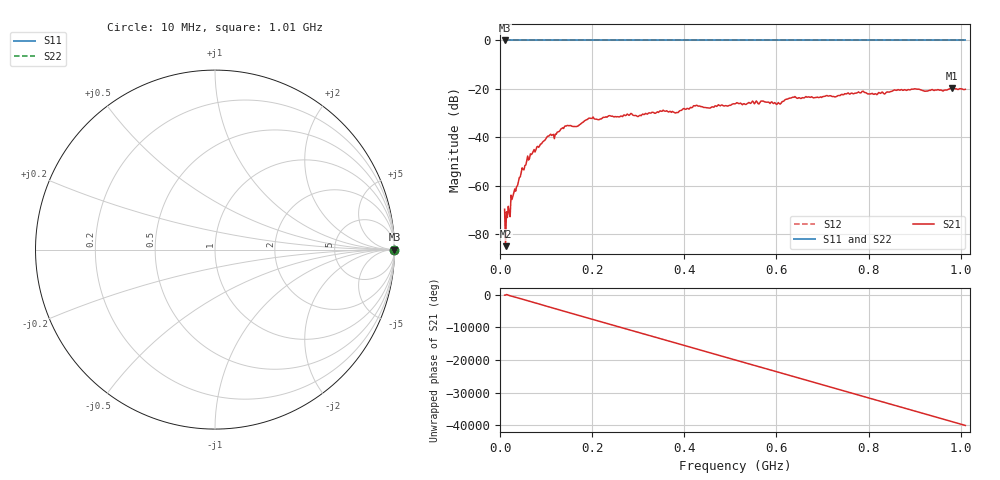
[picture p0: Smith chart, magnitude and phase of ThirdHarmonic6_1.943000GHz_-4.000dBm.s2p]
! 8/16/2025 11:24:06 PM
! C:\ANRITSUVNA\TEMP\TEMP.S2P
! CHANNEL.1
! TR.MEASUREMENT
! RAW.DATA
! RF.CORRECTION.OFF
! AVERAGING.OFF
! IF.BANDWIDTH: 5KHZ
! SWEEPTYPE:  FREQ.SWEEP(Linear)
! Reference Plane Port Info
! PORT:  PORT1  PORT2
! DISTANCE:  0  m  0  m
! TIME:  0  s  0  s
! PHASE.OFFSET:  0  deg.  0  deg.
! LOSS:  0  dB  0  dB
! REF.LOSS:  0  dB  0  dB
! REF.FREQ:  0  Hz  0  Hz
! Power Info
! POWER:  -20  dBm  -20  dBm
! EFF.POWER:  -20  dBm  -20  dBm
! SOURCE.ATTEN:  0  dB  0  dB
! TEST.ATTEN:  0  dB  0  dB
# GHZ S RI R 50.0
! FREQ.GHZ  S11RE  S11IM  S21RE  S21IM  S12RE  S12IM  S22RE  S22IM
!; PortSelection: Port_12
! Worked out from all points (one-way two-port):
!   501 points, 10 MHz to 1.01 GHz, reference 50 ohm
!   highest |S21| = -19.78 dB at 980 MHz (marker M1); lowest = -85.0 dB at 12 MHz (marker M2)
!   lowest |S11| = 0.0 dB at 10 MHz (marker M3)
!   |S11| at or under -10 dB: nowhere
!   |S22| runs from 0.0 to 0.0 dB; largest |S21 - S12| = 1.1
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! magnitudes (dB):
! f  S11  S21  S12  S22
! 10 MHz  0.0  -69.7  0.0  0.0
! 12 MHz  0.0  -85.0  0.0  0.0
! 16 MHz  0.0  -73.1  0.0  0.0
! 28 MHz  0.0  -64.4  0.0  0.0
! 46 MHz  0.0  -54.6  0.0  0.0
! 70 MHz  0.0  -46.7  0.0  0.0
! 106 MHz  0.0  -39.5  0.0  0.0
! 118 MHz  0.0  -40.6  0.0  0.0
! 144 MHz  0.0  -35.3  0.0  0.0
! 178 MHz  0.0  -34.0  0.0  0.0
! 198 MHz  0.0  -32.2  0.0  0.0
! 344 MHz  0.0  -29.7  0.0  0.0
! 382 MHz  0.0  -29.8  0.0  0.0
! 424 MHz  0.0  -27.0  0.0  0.0
! 454 MHz  0.0  -27.9  0.0  0.0
! 510 MHz  0.0  -26.2  0.0  0.0
! 604 MHz  0.0  -25.6  0.0  0.0
! 636 MHz  0.0  -23.4  0.0  0.0
! 678 MHz  0.0  -23.4  0.0  0.0
! 844 MHz  0.0  -21.3  0.0  0.0
! 980 MHz  0.0  -19.8  0.0  0.0
! 1.01 GHz  0.0  -20.2  0.0  0.0
